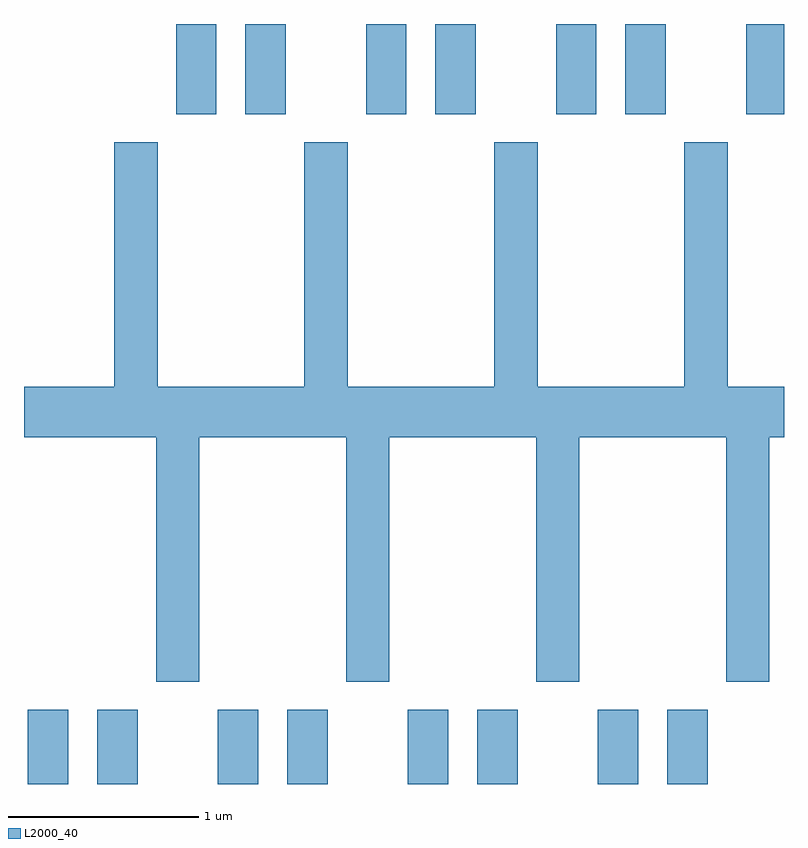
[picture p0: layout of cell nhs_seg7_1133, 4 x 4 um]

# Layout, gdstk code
import gdstk
lib = gdstk.Library(unit=1e-6, precision=1e-09)
def R(c, l, rs):  # rectangles x0, y0, x1, y1
    for r in rs: c.add(gdstk.rectangle(r[:2], r[2:], *l))
def P(c, l, *ps):  # polygons
    for p in ps: c.add(gdstk.Polygon(p, *l))
L2000_40 = (2000, 40)

nhs_seg7_1133 = lib.new_cell('nhs_seg7_1133')
R(nhs_seg7_1133, L2000_40, [(219.631,1730.252,219.844,1730.644), (219.996,1730.252,220.209,1730.644), (220.631,1730.252,220.844,1730.644), (220.996,1730.252,221.209,1730.644), (221.631,1730.252,221.844,1730.644), (221.996,1730.252,222.209,1730.644), (222.631,1730.252,222.844,1730.644), (222.996,1730.252,223.209,1730.644), (220.411,1733.776,220.624,1734.252), (220.776,1733.776,220.989,1734.252), (221.411,1733.776,221.624,1734.252), (221.776,1733.776,221.989,1734.252), (222.411,1733.776,222.624,1734.252), (222.776,1733.776,222.989,1734.252), (223.411,1733.776,223.611,1734.252)])
P(nhs_seg7_1133, L2000_40, [(220.534,1732.076),(221.306,1732.076),(221.306,1730.791),(221.534,1730.791),(221.534,1732.076),(222.306,1732.076),(222.306,1730.791),(222.534,1730.791),(222.534,1732.076),(223.306,1732.076),(223.306,1730.791),(223.534,1730.791),(223.534,1732.076),(223.611,1732.076),(223.611,1732.344),(223.314,1732.344),(223.314,1733.629),(223.086,1733.629),(223.086,1732.344),(222.314,1732.344),(222.314,1733.629),(222.086,1733.629),(222.086,1732.344),(221.314,1732.344),(221.314,1733.629),(221.086,1733.629),(221.086,1732.344),(220.314,1732.344),(220.314,1733.629),(220.086,1733.629),(220.086,1732.344),(219.611,1732.344),(219.611,1732.076),(220.306,1732.076),(220.306,1730.791),(220.534,1730.791)])

lib.write_gds('nhs_seg7_1133.gds')
